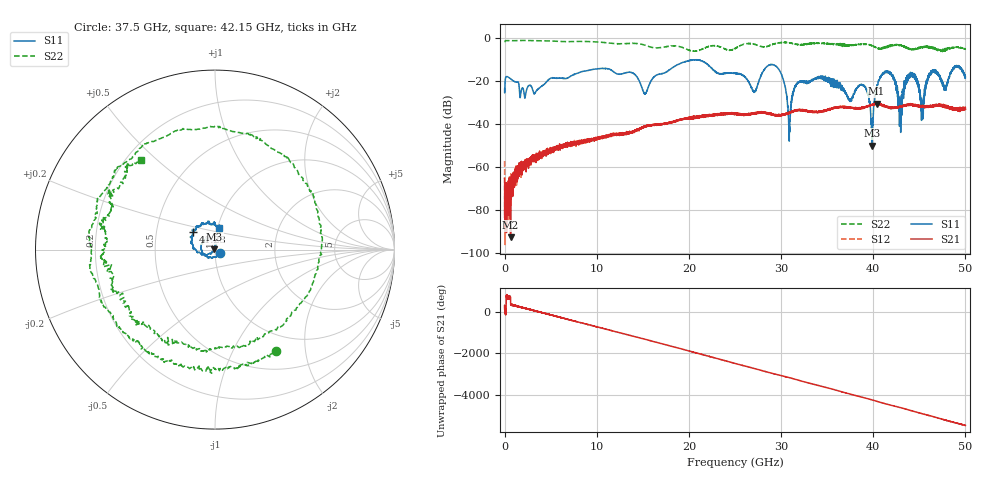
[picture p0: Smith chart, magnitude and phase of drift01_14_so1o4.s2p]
!Created with skrf (http://scikit-rf.org).
# Hz S RI R 50.0
!freq ReS11 ImS11 ReS21 ImS21 ReS12 ImS12 ReS22 ImS22
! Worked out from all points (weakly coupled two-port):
!   10001 points, 300 kHz to 50 GHz, reference 50 ohm
!   highest |S21| = -30.59 dB at 40.36 GHz (marker M1); lowest = -92.7 dB at 650.3 MHz (marker M2)
!   lowest |S11| = -50.1 dB at 39.87 GHz (marker M3), VSWR 1.01, Z = 49.7 + j0.118 ohm
!   |S11| at or under -10 dB: start of sweep to end of sweep
!   |S22| runs from -6.5 to -1.4 dB; largest |S21 - S12| = 0.0038
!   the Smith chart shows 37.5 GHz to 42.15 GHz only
!   S11 on the Smith chart (normalised r, x): 37.5 GHz: 1.06, -0.04; 41.23 GHz: 0.77, +0.16; 42.15 GHz: 1.02, +0.24
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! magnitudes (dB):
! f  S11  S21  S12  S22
! 300 kHz  -23.9  -65.4  -57.2  -2.1
! 650.3 MHz  -19.1  -92.7  -77.8  -1.5
! 8.335 GHz  -15.9  -48.4  -48.3  -1.8
! 16.67 GHz  -17.0  -40.2  -40.4  -4.8
! 25 GHz  -16.6  -35.4  -35.6  -5.1
! 27.11 GHz  -25.2  -35.4  -35.2  -3.1
! 29.41 GHz  -13.2  -35.8  -36.0  -2.7
! 30.91 GHz  -41.3  -34.8  -34.9  -2.6
! 31.67 GHz  -21.7  -33.7  -33.7  -3.2
! 33.34 GHz  -19.9  -34.2  -34.3  -2.7
! 37.5 GHz  -29.0  -32.6  -32.5  -3.6
! 38.95 GHz  -22.1  -32.5  -32.3  -3.1
! 39.87 GHz  -50.1  -31.5  -31.2  -3.8
! 40.36 GHz  -23.7  -30.6  -30.8  -4.8
! 41.23 GHz  -16.0  -31.5  -31.8  -4.6
! 41.67 GHz  -16.1  -32.3  -32.4  -4.4
! 42.15 GHz  -18.4  -32.7  -32.5  -3.8
! 42.92 GHz  -37.4  -32.3  -32.2  -3.6
! 44.05 GHz  -17.2  -31.2  -31.2  -5.3
! 45.31 GHz  -36.7  -31.8  -32.0  -4.4
! 46.42 GHz  -15.2  -32.2  -31.9  -4.8
! 50 GHz  -18.3  -33.1  -33.1  -5.4
